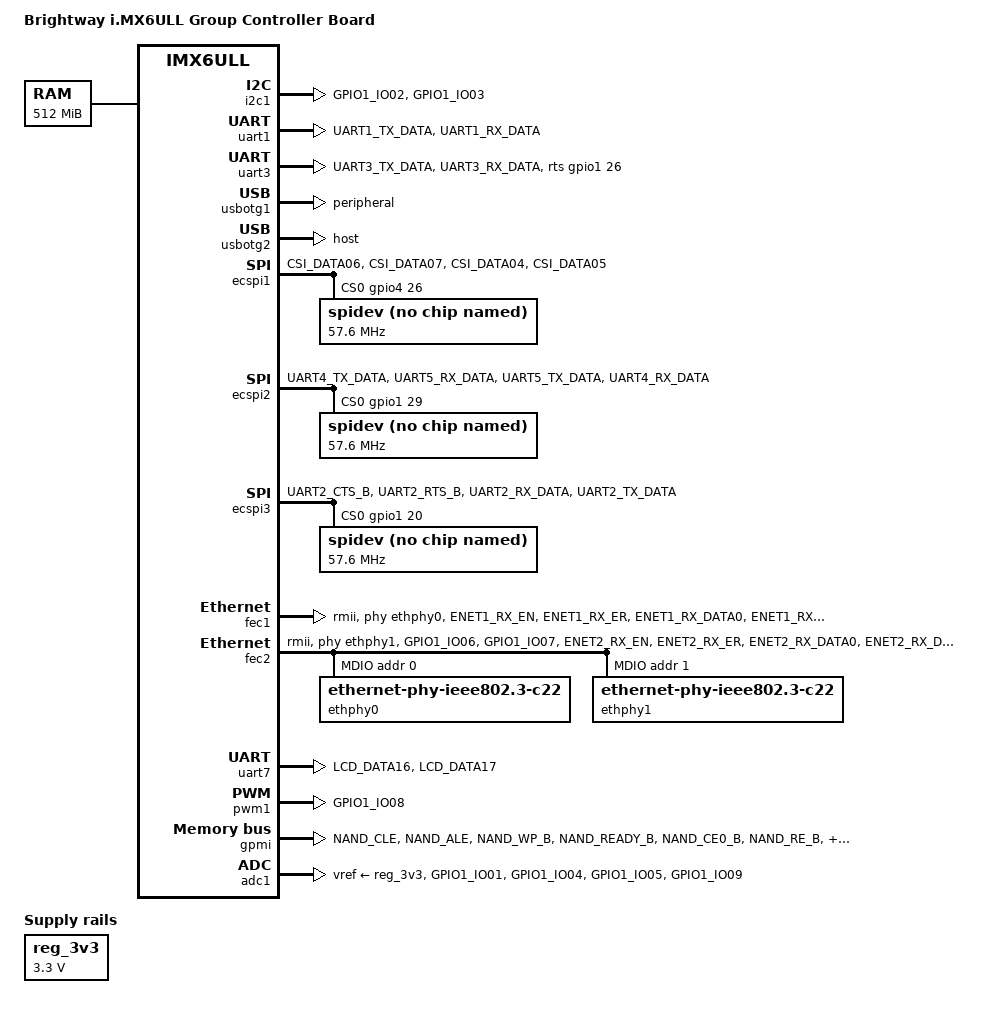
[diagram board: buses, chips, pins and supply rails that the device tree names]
/*
 * Copyright (C) 2016 Freescale Semiconductor, Inc.
 *
 * This program is free software; you can redistribute it and/or modify
 * it under the terms of the GNU General Public License version 2 as
 * published by the Free Software Foundation.
 */

/dts-v1/;

#include <dt-bindings/input/input.h>
#include "imx6ull.dtsi"

/ {
	model = "Brightway i.MX6ULL Group Controller Board";
	compatible = "fsl,imx6ull-14x14-evk", "fsl,imx6ull";

	chosen {
		stdout-path = &uart1;
	};

	memory {
		reg = <0x80000000 0x20000000>;
	};

	reserved-memory {
		#address-cells = <1>;
		#size-cells = <1>;
		ranges;

		linux,cma {
			compatible = "shared-dma-pool";
			reusable;
			size = <0x14000000>;
			linux,cma-default;
		};
	};

	regulators {
		compatible = "simple-bus";
		#address-cells = <1>;
		#size-cells = <0>;

		reg_3v3: regulator@3 {
				compatible = "regulator-fixed";
				regulator-name = "3v3";
				regulator-min-microvolt = <3300000>;
				regulator-max-microvolt = <3300000>;
		};
	};
};

&cpu0 {
	arm-supply = <&reg_arm>;
	soc-supply = <&reg_soc>;
};

&clks {
	assigned-clocks = <&clks IMX6UL_CLK_PLL4_AUDIO_DIV>;
	assigned-clock-rates = <786432000>;
};

&gpc {
	fsl,cpu_pupscr_sw2iso = <0x1>;
	fsl,cpu_pupscr_sw = <0x0>;
	fsl,cpu_pdnscr_iso2sw = <0x1>;
	fsl,cpu_pdnscr_iso = <0x1>;
	fsl,ldo-bypass = <0>; /* DCDC, ldo-enable */
};

&i2c1 {
	clock_frequency = <100000>;
	pinctrl-names = "default";
	pinctrl-0 = <&pinctrl_i2c1>;
	status = "okay";
};

&iomuxc {
	pinctrl-names = "default";
	pinctrl-0 = <&pinctrl_hog_1>;
	//imx6ul-evk {
		pinctrl_hog_1: hoggrp-1 {
			fsl,pins = <
				MX6UL_PAD_UART1_RTS_B__GPIO1_IO19          0x17059 /* SD1 CD */
				MX6UL_PAD_GPIO1_IO00__ANATOP_OTG1_ID       0x17059 /* USB OTG1 ID */
				MX6UL_PAD_JTAG_MOD__GPIO1_IO10             0x000130B0
				MX6UL_PAD_JTAG_TCK__GPIO1_IO14             0x000130B0 // 100K Ohm Pull Down
				MX6UL_PAD_JTAG_TDI__GPIO1_IO13             0x000130B0
				MX6UL_PAD_JTAG_TDO__GPIO1_IO12             0x000130B0
				MX6UL_PAD_JTAG_TMS__GPIO1_IO11             0x000130B0
				MX6UL_PAD_JTAG_TRST_B__GPIO1_IO15          0x000130B0
				MX6UL_PAD_NAND_DQS__GPIO4_IO16             0x0001F0B0
				MX6UL_PAD_UART1_CTS_B__GPIO1_IO18          0x0001F0B0
				MX6UL_PAD_UART3_CTS_B__GPIO1_IO26          0x0001F0B0  // uart3 rts
				MX6UL_PAD_UART3_RTS_B__GPIO1_IO27          0x0001F0B0

				MX6UL_PAD_CSI_VSYNC__GPIO4_IO19            0x0001F0B0
				MX6UL_PAD_CSI_HSYNC__GPIO4_IO20            0x0001F0B0
				MX6UL_PAD_LCD_CLK__GPIO3_IO00              0x0001F0B0
				MX6UL_PAD_LCD_DATA00__GPIO3_IO05           0x000130B0
				MX6UL_PAD_LCD_DATA01__GPIO3_IO06           0x000130B0
				MX6UL_PAD_LCD_DATA02__GPIO3_IO07           0x000130B0
				MX6UL_PAD_LCD_DATA03__GPIO3_IO08           0x000130B0 // 100K Ohm Pull Down
				MX6UL_PAD_LCD_DATA04__GPIO3_IO09           0x0001F0B0
				MX6UL_PAD_LCD_DATA08__GPIO3_IO13           0x0001F0B0
				MX6UL_PAD_LCD_DATA09__GPIO3_IO14           0x0001F0B0
				MX6UL_PAD_LCD_DATA10__GPIO3_IO15           0x0001F0B0 // 22K Ohm Pull Up

				MX6UL_PAD_LCD_DATA12__GPIO3_IO17           0x000130B0
				MX6UL_PAD_LCD_DATA13__GPIO3_IO18           0x000130B0
				MX6UL_PAD_LCD_DATA14__GPIO3_IO19           0x000130B0

				MX6UL_PAD_LCD_DATA15__GPIO3_IO20           0x000130B0
				MX6UL_PAD_LCD_DATA18__GPIO3_IO23           0x000130B0
				MX6UL_PAD_LCD_DATA19__GPIO3_IO24           0x000130B0
				MX6UL_PAD_LCD_DATA22__GPIO3_IO27           0x000130B0
				MX6UL_PAD_LCD_DATA23__GPIO3_IO28           0x000130B0

				MX6UL_PAD_LCD_HSYNC__GPIO3_IO02            0x0001F0B0

				MX6UL_PAD_NAND_CE1_B__GPIO4_IO14           0x0001F0B0

				MX6UL_PAD_LCD_VSYNC__GPIO3_IO03            0x0001F0B0 // 22K Ohm Pull Up
				MX6UL_PAD_LCD_ENABLE__GPIO3_IO01           0x0001F0B0
				MX6UL_PAD_CSI_DATA02__GPIO4_IO23           0x0001F0B0
				MX6UL_PAD_CSI_DATA03__GPIO4_IO24           0x0001F0B0
				MX6UL_PAD_SD1_CMD__GPIO2_IO16              0x0001F0B0
				MX6UL_PAD_SD1_CLK__GPIO2_IO17              0x0001F0B0
				MX6UL_PAD_SD1_DATA0__GPIO2_IO18            0x0001F0B0
				MX6UL_PAD_SD1_DATA1__GPIO2_IO19            0x0001F0B0
				MX6UL_PAD_SD1_DATA2__GPIO2_IO20            0x0001F0B0
				MX6UL_PAD_SD1_DATA3__GPIO2_IO21            0x0001F0B0

				MX6UL_PAD_SNVS_TAMPER0__GPIO5_IO00         0x000130B0
				MX6UL_PAD_SNVS_TAMPER1__GPIO5_IO01         0x000130B0 // 100K Ohm Pull Down
				MX6UL_PAD_SNVS_TAMPER2__GPIO5_IO02         0x000130B0
				MX6UL_PAD_SNVS_TAMPER3__GPIO5_IO03         0x000130B0
				MX6UL_PAD_SNVS_TAMPER4__GPIO5_IO04         0x000130B0
				MX6UL_PAD_SNVS_TAMPER5__GPIO5_IO05         0x000130B0
				MX6UL_PAD_SNVS_TAMPER7__GPIO5_IO07         0x000130B0
				MX6UL_PAD_SNVS_TAMPER8__GPIO5_IO08         0x000130B0
			>;
		};


		pinctrl_i2c1: i2c1grp {
			fsl,pins = <
				MX6UL_PAD_GPIO1_IO02__I2C1_SCL    0x4001b8b0
				MX6UL_PAD_GPIO1_IO03__I2C1_SDA    0x4001b8b0
			>;
		};

		pinctrl_uart1: uart1grp {
			fsl,pins = <
				MX6UL_PAD_UART1_TX_DATA__UART1_DCE_TX 0x1b0b1
				MX6UL_PAD_UART1_RX_DATA__UART1_DCE_RX 0x1b0b1
			>;
		};

		pinctrl_uart3: uart3grp {
			fsl,pins = <
				MX6UL_PAD_UART3_TX_DATA__UART3_DCE_TX	0x1b0b1
				MX6UL_PAD_UART3_RX_DATA__UART3_DCE_RX	0x1b0b1
			>;
		};


		pinctrl_uart5: uart5grp {
			fsl,pins = <
				MX6UL_PAD_CSI_DATA00__UART5_DCE_TX	0x1b0b1
				MX6UL_PAD_CSI_DATA01__UART5_DCE_RX	0x1b0b1
			>;
		};

		pinctrl_uart6: uart6grp {
			fsl,pins = <
				MX6UL_PAD_CSI_MCLK__UART6_DCE_TX	0x1b0b1
				MX6UL_PAD_CSI_PIXCLK__UART6_DCE_RX	0x1b0b1
			>;
		};

		pinctrl_wdog: wdoggrp {
			fsl,pins = <
				MX6UL_PAD_LCD_RESET__WDOG1_WDOG_ANY    0x30b0
			>;
		};
	//};
};

&iomuxc_snvs {
	pinctrl-names = "default_snvs";
	pinctrl-0 = <&pinctrl_hog_2>;
	//imx6ul-evk {
		pinctrl_hog_2: hoggrp-2 {
			fsl,pins = <
				MX6ULL_PAD_SNVS_TAMPER6__GPIO5_IO06	0x1b0b0
			>;
		};

		pinctrl_leds: ledgrp {
			fsl,pins = <
				MX6ULL_PAD_SNVS_TAMPER1__GPIO5_IO01 0x1b0b0
				MX6ULL_PAD_SNVS_TAMPER2__GPIO5_IO02 0x1b0b0
			>;
		};

		pinctrl_gpio_key: keygrp {
			fsl,pins = <
				MX6ULL_PAD_SNVS_TAMPER0__GPIO5_IO00 0x1b0b0
			>;
		};

		pinctrl_dvfs: dvfsgrp {
			fsl,pins = <
				MX6ULL_PAD_SNVS_TAMPER3__GPIO5_IO03      0x79
			>;
		};
	//};
};

&uart1 {
	pinctrl-names = "default";
	pinctrl-0 = <&pinctrl_uart1>;
	status = "okay";
};

&uart3 {
	pinctrl-names = "default";
	pinctrl-0 = <&pinctrl_uart3>;
	rts-gpios = <&gpio1 26 GPIO_ACTIVE_HIGH>;
	linux,rs485-enabled-at-boot-time;
	status = "okay";
};

&usbotg1 {
	dr_mode = "peripheral";
	srp-disable;
	hnp-disable;
	adp-disable;
	status = "okay";
};

&usbotg2 {
	dr_mode = "host";
	disable-over-current;
	status = "okay";
};

&usbphy1 {
	tx-d-cal = <0x5>;
};

&usbphy2 {
	tx-d-cal = <0x5>;
};

&wdog1 {
	pinctrl-names = "default";
	pinctrl-0 = <&pinctrl_wdog>;
	fsl,wdog_b;
};

/************************************************************/

&iomuxc {
	//imx6ul-evk {
		pinctrl_enet1_alt: enet1grp {
			fsl,pins = <
				MX6UL_PAD_ENET1_RX_EN__ENET1_RX_EN	0x1b0b0
				MX6UL_PAD_ENET1_RX_ER__ENET1_RX_ER	0x1b0b0
				MX6UL_PAD_ENET1_RX_DATA0__ENET1_RDATA00	0x1b0b0
				MX6UL_PAD_ENET1_RX_DATA1__ENET1_RDATA01	0x1b0b0
				MX6UL_PAD_ENET1_TX_EN__ENET1_TX_EN	0x1b0b0
				MX6UL_PAD_ENET1_TX_DATA0__ENET1_TDATA00	0x1b0b0
				MX6UL_PAD_ENET1_TX_DATA1__ENET1_TDATA01	0x1b0b0
				MX6UL_PAD_ENET1_TX_CLK__ENET1_REF_CLK1	0x4001b031
			>;
		};

		pinctrl_enet2_alt: enet2grp {
			fsl,pins = <
				MX6UL_PAD_GPIO1_IO06__ENET2_MDIO	0x1b0b0
				MX6UL_PAD_GPIO1_IO07__ENET2_MDC		0x1b0b0
				MX6UL_PAD_ENET2_RX_EN__ENET2_RX_EN	0x1b0b0
				MX6UL_PAD_ENET2_RX_ER__ENET2_RX_ER	0x1b0b0
				MX6UL_PAD_ENET2_RX_DATA0__ENET2_RDATA00	0x1b0b0
				MX6UL_PAD_ENET2_RX_DATA1__ENET2_RDATA01	0x1b0b0
				MX6UL_PAD_ENET2_TX_EN__ENET2_TX_EN	0x1b0b0
				MX6UL_PAD_ENET2_TX_DATA0__ENET2_TDATA00	0x1b0b0
				MX6UL_PAD_ENET2_TX_DATA1__ENET2_TDATA01	0x1b0b0
				MX6UL_PAD_ENET2_TX_CLK__ENET2_REF_CLK2	0x4001b031
			>;
		};

		/*
			* The same pins GPIO1_IO6 and GPIO_IO7 are shared as the MII
			* bus of ENET1 and ENET2. If both interfaces are enabled, the
			* IOMUX of ENET2 will apply.
			* If only one interface is enabled, the IOMUX of the enabled
			* interface will apply.
			*/
		pinctrl_enet1_mdio: mdioenet1grp {
			fsl,pins = <
				MX6UL_PAD_GPIO1_IO07__ENET1_MDC		0x1b0b0
				MX6UL_PAD_GPIO1_IO06__ENET1_MDIO	0x1b0b0
			>;
		};

		pinctrl_enet2_mdio: mdioenet2grp {
			fsl,pins = <
				MX6UL_PAD_GPIO1_IO07__ENET2_MDC		0x1b0b0
				MX6UL_PAD_GPIO1_IO06__ENET2_MDIO	0x1b0b0
			>;
		};

		pinctrl_enet1_gpio: enet1gpiogrp {
			fsl,pins = <
				MX6UL_PAD_SNVS_TAMPER9__GPIO5_IO09     0x1b0b0
			>;
		};

		pinctrl_enet2_gpio: enet2gpiogrp {
			fsl,pins = <
				/* PHY reset */
				MX6UL_PAD_SNVS_TAMPER6__GPIO5_IO06	0x1b0b0
			>;
		};

		pinctrl_ecspi1_cs_1: ecspi1_cs_grp-1 {
			fsl,pins = <
				MX6UL_PAD_CSI_DATA05__GPIO4_IO26  0x10b0
			>;
		};

		pinctrl_ecspi1_1: ecspi1grp-1 {
			fsl,pins = <
				MX6UL_PAD_CSI_DATA06__ECSPI1_MOSI 0x10b0
				MX6UL_PAD_CSI_DATA07__ECSPI1_MISO 0x10b0
				MX6UL_PAD_CSI_DATA04__ECSPI1_SCLK 0x10b0
			>;
		};

		pinctrl_ecspi2_cs_1: ecspi2_cs_grp-1 {
			fsl,pins = <
				MX6UL_PAD_UART4_RX_DATA__GPIO1_IO29        0x10b0
			>;
		};

		pinctrl_ecspi2_1: ecspi2grp-1 {
			fsl,pins = <
				MX6UL_PAD_UART4_TX_DATA__ECSPI2_SCLK       0x10b0
				MX6UL_PAD_UART5_RX_DATA__ECSPI2_MISO       0x10b0
				MX6UL_PAD_UART5_TX_DATA__ECSPI2_MOSI       0x10b0
			>;
		};

		pinctrl_ecspi3_cs_1: ecspi3_cs_grp-1 {
			fsl,pins = <
				MX6UL_PAD_UART2_TX_DATA__GPIO1_IO20        0x10b0
			>;
		};

		pinctrl_ecspi3_1: ecspi3grp-1 {
			fsl,pins = <
				MX6UL_PAD_UART2_CTS_B__ECSPI3_MOSI         0x10b0
				MX6UL_PAD_UART2_RTS_B__ECSPI3_MISO         0x10b0
				MX6UL_PAD_UART2_RX_DATA__ECSPI3_SCLK       0x10b0
			>;
		};

		pinctrl_uart7: uart7grp {
			fsl,pins = <
				MX6UL_PAD_LCD_DATA16__UART7_DCE_TX	0x1b0b1
				MX6UL_PAD_LCD_DATA17__UART7_DCE_RX	0x1b0b1
			>;
		};

		pinctrl_uart8: uart8grp {
			fsl,pins = <
				MX6UL_PAD_LCD_DATA20__UART8_DCE_TX	0x1b0b1
				MX6UL_PAD_LCD_DATA21__UART8_DCE_RX	0x1b0b1
			>;
		};

		pinctrl_pwm1: pwm1grp {
			fsl,pins = <
				MX6UL_PAD_GPIO1_IO08__PWM1_OUT   0x1b0b1
			>;
		};
	//};
};

&iomuxc_snvs {
	pinctrl-names = "default_snvs";
	//imx6ull-board {
	pinctrl-0 = <&init_gpio_pinsSnvs>;
		init_gpio_pinsSnvs: init_gpio_pinsSnvsGrp {        /*!< Function assigned for the core: Cortex-A7[ca7] */
			fsl,pins = <
				MX6ULL_PAD_SNVS_TAMPER7__GPIO5_IO07        0x0000F0B0
			>;
		};
	//};
};

&ecspi1 {
	fsl,spi-num-chipselects = <1>;
	cs-gpios = <&gpio4 26 0>;
	pinctrl-names = "default";
	pinctrl-0 = <&pinctrl_ecspi1_1 &pinctrl_ecspi1_cs_1>;
	status = "okay";

	spidev@0{
		//compatible = "linux,spidev"; /* no /dev/spidev* */
		compatible = "rohm,dh2228fv"; /* Same as "spidev" but without errors at boot. Search "buggy DT" to understand */
		reg = <0>;
		spi-max-frequency = <57600000>;
	};
};

&ecspi2 {
	fsl,spi-num-chipselects = <1>;
	cs-gpios = <&gpio1 29 0>;
	pinctrl-names = "default";
	pinctrl-0 = <&pinctrl_ecspi2_1 &pinctrl_ecspi2_cs_1>;
	status = "okay";

	spidev@0{
		//compatible = "linux,spidev"; /* no /dev/spidev* */
		compatible = "rohm,dh2228fv"; /* Same as "spidev" but without errors at boot. Search "buggy DT" to understand */
		reg = <0>;
		spi-max-frequency = <57600000>;
	};
};

&ecspi3 {
	fsl,spi-num-chipselects = <1>;
	cs-gpios = <&gpio1 20 0>;
	pinctrl-names = "default";
	pinctrl-0 = <&pinctrl_ecspi3_1 &pinctrl_ecspi3_cs_1>;
	status = "okay";

	spidev@0{
		//compatible = "linux,spidev"; /* no /dev/spidev* */
		compatible = "rohm,dh2228fv"; /* Same as "spidev" but without errors at boot. Search "buggy DT" to understand */
		reg = <0>;
		spi-max-frequency = <57600000>;
	};
};

&fec1 {
	pinctrl-names = "default";
	pinctrl-0 = <&pinctrl_enet1_alt>, <&pinctrl_enet1_gpio>;
	phy-mode = "rmii";
	phy-handle = <&ethphy0>;
	phy-reset-gpios = <&gpio5 9 GPIO_ACTIVE_LOW>;
	phy-reset-duration = <26>;
	phy-reset-post-delay=<20>;
	status = "okay";
};

&fec2 {
	pinctrl-names = "default";
	pinctrl-0 = <&pinctrl_enet2_alt>, <&pinctrl_enet2_mdio>, <&pinctrl_enet2_gpio>;
	phy-mode = "rmii";
	phy-handle = <&ethphy1>;
	phy-reset-gpios = <&gpio5 6 GPIO_ACTIVE_LOW>;
	phy-reset-duration = <26>;
	phy-reset-post-delay=<20>;
	status = "okay";

	mdio {
		#address-cells = <1>;
		#size-cells = <0>;

		ethphy0: ethernet-phy@0 {
			compatible = "ethernet-phy-ieee802.3-c22";
			reg = <0>;
		};
		ethphy1: ethernet-phy@1 {
			compatible = "ethernet-phy-ieee802.3-c22";
			reg = <1>;
		};
	};
};

&uart7 {
	pinctrl-names = "default";
	pinctrl-0 = <&pinctrl_uart7>;
	status = "okay";
};

&pwm1 {
	pinctrl-names = "default";
	pinctrl-0 = <&pinctrl_pwm1>;
	status = "okay";
};

/************************************************************************************/

&gpmi {
	pinctrl-names = "default";
	pinctrl-0 = <&pinctrl_gpmi_nand_1>;
	status = "okay";
	nand-on-flash-bbt;
};

&iomuxc {
	//imx6ull-evk-gpmi-rework {
		pinctrl_gpmi_nand_1: gpmi-nand-1 {
			fsl,pins = <
				MX6UL_PAD_NAND_CLE__RAWNAND_CLE         0xb0b1
				MX6UL_PAD_NAND_ALE__RAWNAND_ALE         0xb0b1
				MX6UL_PAD_NAND_WP_B__RAWNAND_WP_B       0xb0b1
				MX6UL_PAD_NAND_READY_B__RAWNAND_READY_B 0xb000
				MX6UL_PAD_NAND_CE0_B__RAWNAND_CE0_B     0xb0b1
				MX6UL_PAD_NAND_RE_B__RAWNAND_RE_B       0xb0b1
				MX6UL_PAD_NAND_WE_B__RAWNAND_WE_B       0xb0b1
				MX6UL_PAD_NAND_DATA00__RAWNAND_DATA00   0xb0b1
				MX6UL_PAD_NAND_DATA01__RAWNAND_DATA01   0xb0b1
				MX6UL_PAD_NAND_DATA02__RAWNAND_DATA02   0xb0b1
				MX6UL_PAD_NAND_DATA03__RAWNAND_DATA03   0xb0b1
				MX6UL_PAD_NAND_DATA04__RAWNAND_DATA04   0xb0b1
				MX6UL_PAD_NAND_DATA05__RAWNAND_DATA05   0xb0b1
				MX6UL_PAD_NAND_DATA06__RAWNAND_DATA06   0xb0b1
				MX6UL_PAD_NAND_DATA07__RAWNAND_DATA07   0xb0b1
			>;
		};
		pinctrl_adc1: adc1grp {
			fsl,pins = <
				MX6UL_PAD_GPIO1_IO01__GPIO1_IO01        0xb0
				MX6UL_PAD_GPIO1_IO04__GPIO1_IO04        0xb0
				MX6UL_PAD_GPIO1_IO05__GPIO1_IO05        0xb0
				MX6UL_PAD_GPIO1_IO09__GPIO1_IO09        0xb0
			>;
		};
	//};
};

&adc1 {
		pinctrl-names = "default";
		pinctrl-0 = <&pinctrl_adc1>;
		num-channels = <10>;
		vref-supply = <&reg_3v3>;
		status = "okay";
};
